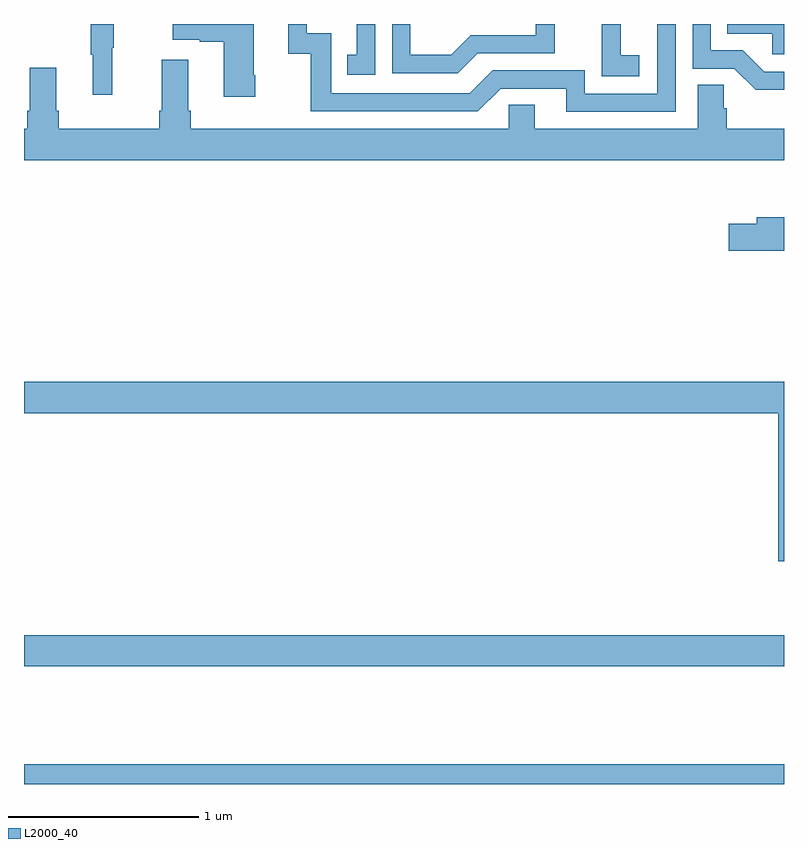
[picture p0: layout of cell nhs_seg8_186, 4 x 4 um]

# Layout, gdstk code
import gdstk
lib = gdstk.Library(unit=1e-6, precision=1e-09)
def R(c, l, rs):  # rectangles x0, y0, x1, y1
    for r in rs: c.add(gdstk.rectangle(r[:2], r[2:], *l))
def P(c, l, *ps):  # polygons
    for p in ps: c.add(gdstk.Polygon(p, *l))
L2000_40 = (2000, 40)

nhs_seg8_186 = lib.new_cell('nhs_seg8_186')
R(nhs_seg8_186, L2000_40, [(123,1095.9,127,1096.004), (123,1096.52,127,1096.684)])
P(nhs_seg8_186, L2000_40, [(124.848,1099.9),(124.751,1099.9),(124.751,1099.737),(124.702,1099.737),(124.702,1099.632),(124.848,1099.632)],
  [(124.218,1099.63),(124.21,1099.63),(124.21,1099.9),(123.783,1099.9),(123.783,1099.817),(123.926,1099.817),(123.926,1099.807),(124.052,1099.807),(124.052,1099.518),(124.218,1099.518)],
  [(123.464,1099.776),(123.472,1099.776),(123.472,1099.9),(123.351,1099.9),(123.351,1099.739),(123.362,1099.739),(123.362,1099.527),(123.464,1099.527)],
  [(126.238,1099.735),(126.14,1099.735),(126.14,1099.9),(126.041,1099.9),(126.041,1099.831),(126.04,1099.831),(126.04,1099.625),(126.238,1099.625)],
  [(126.429,1099.9),(126.333,1099.9),(126.333,1099.533),(125.952,1099.533),(125.952,1099.656),(125.466,1099.656),(125.346,1099.536),(124.617,1099.536),(124.617,1099.851),(124.488,1099.851),(124.488,1099.9),(124.391,1099.9),(124.391,1099.743),(124.509,1099.743),(124.509,1099.44),(125.388,1099.44),(125.508,1099.56),(125.855,1099.56),(125.855,1099.437),(126.429,1099.437)],
  [(125.389,1099.746),(125.793,1099.746),(125.793,1099.9),(125.694,1099.9),(125.694,1099.842),(125.352,1099.842),(125.248,1099.738),(125.034,1099.738),(125.034,1099.9),(124.938,1099.9),(124.938,1099.641),(125.284,1099.641)],
  [(127,1099.65),(126.895,1099.65),(126.784,1099.761),(126.615,1099.761),(126.615,1099.9),(126.519,1099.9),(126.519,1099.665),(126.738,1099.665),(126.851,1099.553),(127,1099.553)],
  [(127,1099.9),(126.7,1099.9),(126.7,1099.85),(126.939,1099.85),(126.939,1099.742),(127,1099.742)],
  [(127,1099.348),(126.698,1099.348),(126.698,1099.457),(126.684,1099.457),(126.684,1099.58),(126.545,1099.58),(126.545,1099.348),(125.689,1099.348),(125.689,1099.475),(125.55,1099.475),(125.55,1099.348),(123.878,1099.348),(123.878,1099.444),(123.865,1099.444),(123.865,1099.711),(123.725,1099.711),(123.725,1099.444),(123.713,1099.444),(123.713,1099.348),(123.182,1099.348),(123.182,1099.444),(123.169,1099.444),(123.169,1099.669),(123.029,1099.669),(123.029,1099.444),(123.017,1099.444),(123.017,1099.348),(123,1099.348),(123,1099.184),(127,1099.184)],
  [(127,1098.883),(126.857,1098.883),(126.857,1098.849),(126.708,1098.849),(126.708,1098.707),(127,1098.707)],
  [(127,1098.016),(123,1098.016),(123,1097.852),(126.971,1097.852),(126.971,1097.073),(127,1097.073)])

lib.write_gds('nhs_seg8_186.gds')
